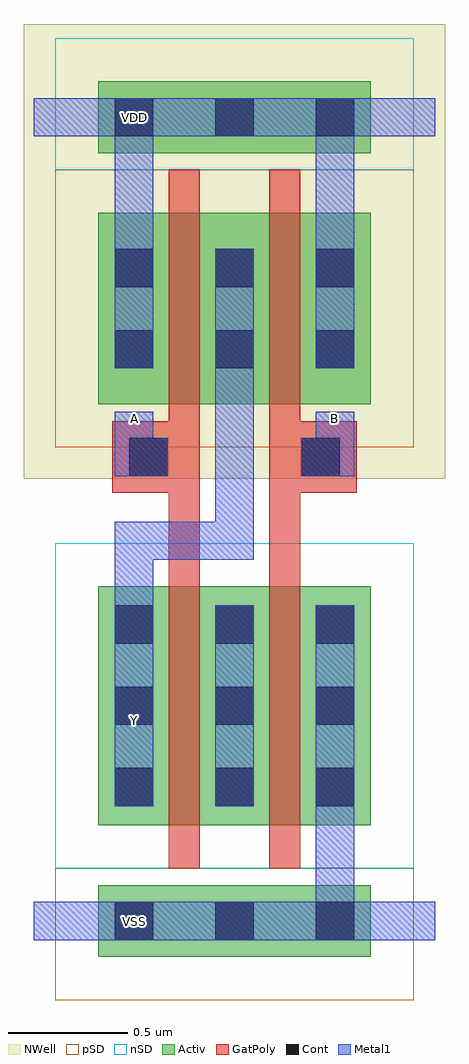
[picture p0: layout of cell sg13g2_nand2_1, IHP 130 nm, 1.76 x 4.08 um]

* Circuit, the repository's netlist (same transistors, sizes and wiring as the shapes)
* sg13g2_nand2_1 -- generated by design/gen_netlists.py from example_config.json; do not edit.
* family nand2, drive 1, L=130n, supply 1.20 V.
* Y = !(A*B)
.subckt sg13g2_nand2_1 A B Y VDD VSS
XMN0 Y A n1 VSS sg13_lv_nmos w=1000n l=130n ng=1 m=1
XMN1 n1 B VSS VSS sg13_lv_nmos w=1000n l=130n ng=1 m=1
XMP0 Y A VDD VDD sg13_lv_pmos w=800n l=130n ng=1 m=1
XMP1 Y B VDD VDD sg13_lv_pmos w=800n l=130n ng=1 m=1
.ends sg13g2_nand2_1

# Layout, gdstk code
import gdstk
lib = gdstk.Library(unit=1e-6, precision=1e-09)
def R(c, l, rs):  # rectangles x0, y0, x1, y1
    for r in rs: c.add(gdstk.rectangle(r[:2], r[2:], *l))
def A(c, l, x, y, w, h, nx, ny, dx, dy):  # array of equal rectangles
    R(c, l, [(x+i*dx, y+j*dy, x+i*dx+w, y+j*dy+h) for i in range(nx) for j in range(ny)])
Activ = (1, 0)
GatPoly = (5, 0)
Cont = (6, 0)
nSD = (7, 0)
Metal1 = (8, 0)
pSD = (14, 0)
NWell = (31, 0)

sg13g2_nand2_1 = lib.new_cell('sg13g2_nand2_1')
R(sg13g2_nand2_1, Activ, [(0.27,-0.15,1.41,0.15), (0.27,0.4,1.41,1.4), (0.27,2.16,1.41,2.96), (0.27,3.21,1.41,3.51)])
R(sg13g2_nand2_1, GatPoly, [(0.565,0.22,0.695,3.14), (0.985,0.22,1.115,3.14), (0.33,1.79,0.695,2.09), (0.985,1.79,1.35,2.09)])
A(sg13g2_nand2_1, Cont, 0.34, -0.08, 0.16, 0.16, 3, 2, 0.42, 0.56)
A(sg13g2_nand2_1, Cont, 0.34, 0.82, 0.16, 0.16, 3, 2, 0.42, 0.34)
A(sg13g2_nand2_1, Cont, 0.34, 2.31, 0.16, 0.16, 3, 2, 0.42, 0.34)
A(sg13g2_nand2_1, Cont, 0.34, 3.28, 0.16, 0.16, 3, 1, 0.42, 0)
R(sg13g2_nand2_1, Cont, [(0.4,1.86,0.56,2.02), (1.12,1.86,1.28,2.02)])
R(sg13g2_nand2_1, nSD, [(0.09,0.22,1.59,1.58), (0.09,3.14,1.59,3.69)])
R(sg13g2_nand2_1, Metal1, [(0,-0.08,1.68,0.08), (0.34,-0.08,1.34,0.08), (1.18,-0.08,1.34,1.32), (0.34,0.48,0.5,1.67), (0.76,0.48,0.92,1.32), (0.34,1.51,0.92,1.67), (0.76,1.51,0.92,2.81), (0.34,1.86,0.5,2.13), (0.34,1.86,0.56,2.02), (1.12,1.86,1.34,2.02), (1.18,1.86,1.34,2.13), (0.34,2.31,0.5,3.44), (1.18,2.31,1.34,3.44), (0,3.28,1.68,3.44), (0.34,3.28,1.34,3.44)])
R(sg13g2_nand2_1, pSD, [(0.09,-0.33,1.59,0.22), (0.09,1.98,1.59,3.14)])
R(sg13g2_nand2_1, NWell, [(-0.04,1.85,1.72,3.75)])
sg13g2_nand2_1.add(gdstk.Label('VSS', (0.42,0), layer=8, texttype=25))
sg13g2_nand2_1.add(gdstk.Label('Y', (0.42,0.84), layer=8, texttype=25))
sg13g2_nand2_1.add(gdstk.Label('A', (0.42,2.1), layer=8, texttype=25))
sg13g2_nand2_1.add(gdstk.Label('VDD', (0.42,3.36), layer=8, texttype=25))
sg13g2_nand2_1.add(gdstk.Label('B', (1.26,2.1), layer=8, texttype=25))

lib.write_gds('sg13g2_nand2_1.gds')
